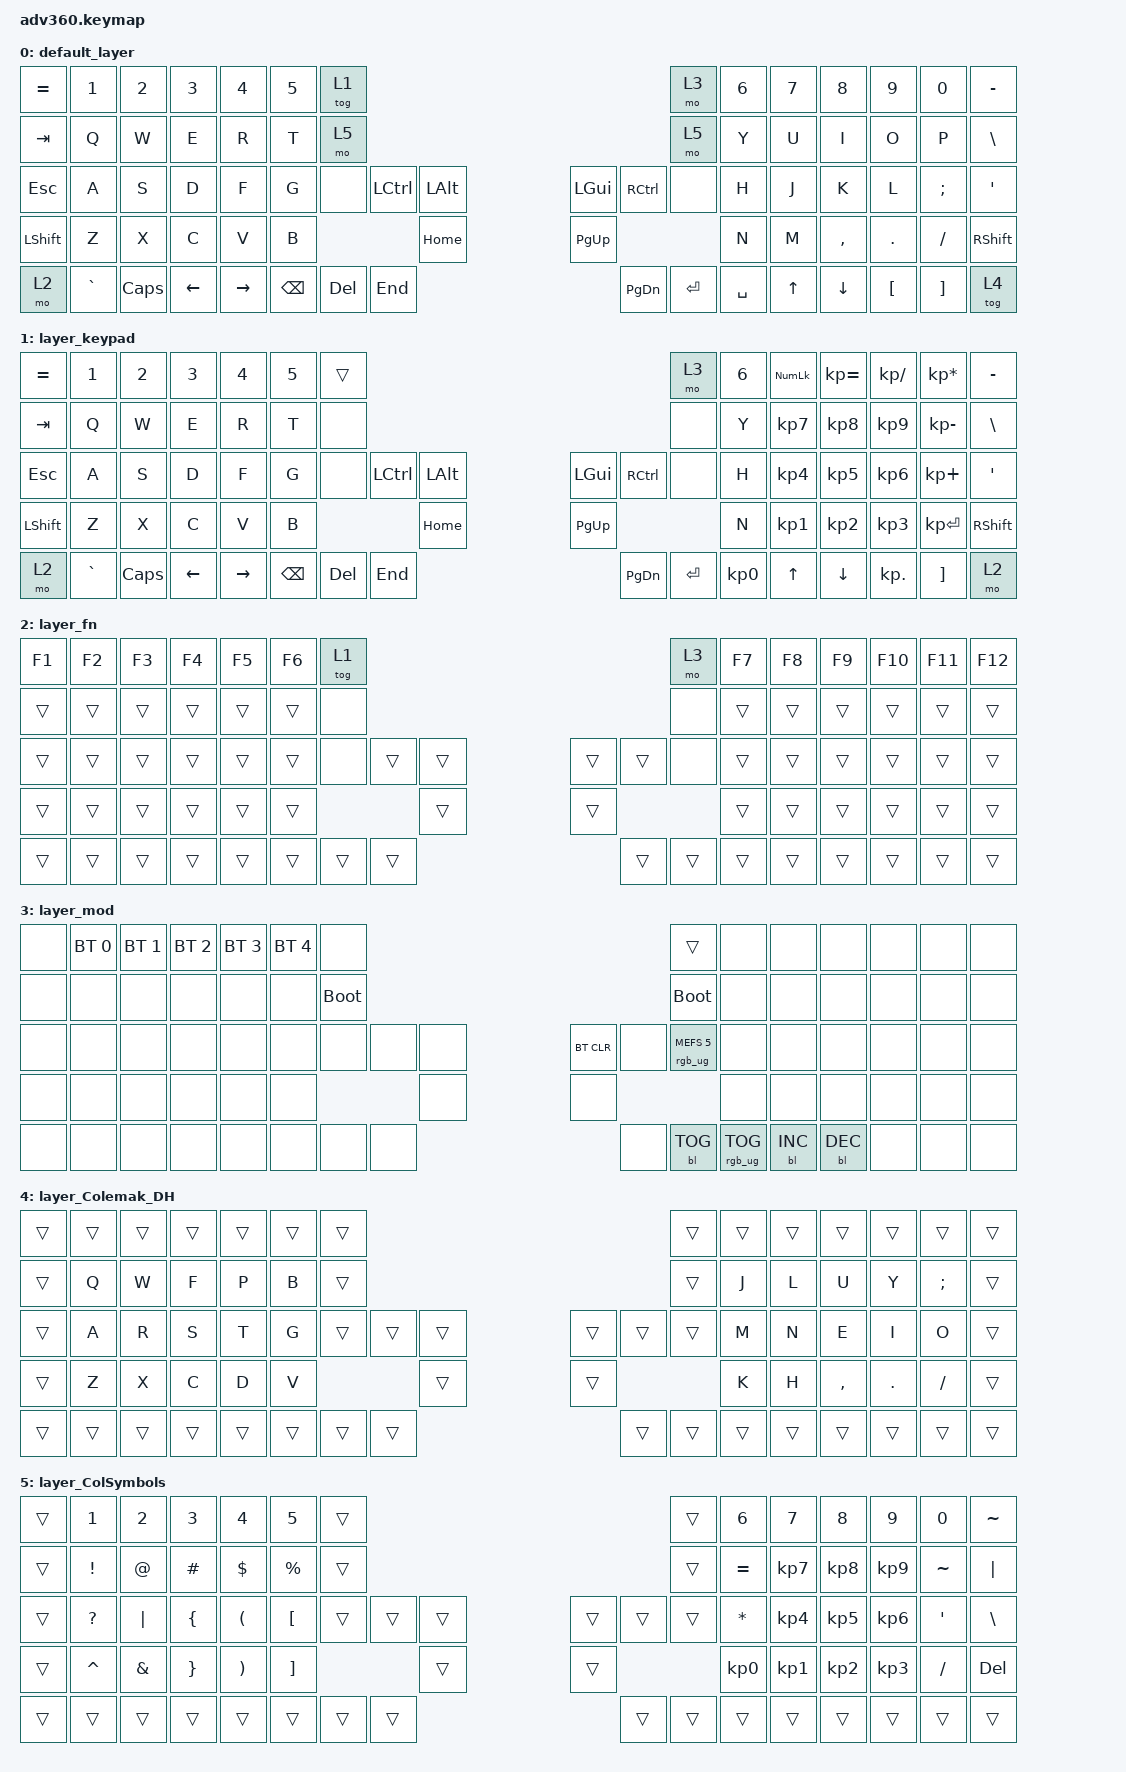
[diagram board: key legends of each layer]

/*
 * Copyright (c) 2020 The ZMK Contributors
 *
 * SPDX-License-Identifier: MIT
 */


/* THIS FILE WAS GENERATED!
 *
 * This file was generated automatically. You may or may not want to
 * edit it directly.
 */

#include <behaviors.dtsi>
#include <dt-bindings/zmk/keys.h>
#include <dt-bindings/zmk/bt.h>
#include <dt-bindings/zmk/rgb.h>
#include <dt-bindings/zmk/backlight.h>

/ {
  behaviors {
    #include "macros.dtsi"
    #include "version.dtsi"

    hm: homerow_mods {
        compatible = "zmk,behavior-hold-tap";
        label = "HOMEROW_MODS";
        #binding-cells = <2>;
        tapping-term-ms = <200>;
        quick_tap_ms = <175>;
        flavor = "tap-preferred";
        bindings = <&kp>, <&kp>;
    };
  };

    keymap {
        compatible = "zmk,keymap";


        default_layer {
            bindings = <
 &kp EQUAL     &kp N1    &kp N2    &kp N3     &kp N4  &kp N5              &tog 1                                                                 &mo 3  &kp N6  &kp N7     &kp N8    &kp N9    &kp N0  &kp MINUS
   &kp TAB      &kp Q     &kp W     &kp E      &kp R   &kp T               &mo 5                                                                 &mo 5   &kp Y   &kp U      &kp I     &kp O     &kp P   &kp BSLH
   &kp ESC      &kp A     &kp S     &kp D      &kp F   &kp G               &none  &kp LCTRL  &kp LALT                   &kp LGUI  &kp RCTRL      &none   &kp H   &kp J      &kp K     &kp L  &kp SEMI    &kp SQT
 &kp LSHFT      &kp Z     &kp X     &kp C      &kp V   &kp B                                 &kp HOME                  &kp PG_UP                         &kp N   &kp M  &kp COMMA   &kp DOT  &kp FSLH  &kp RSHFT
     &mo 2  &kp GRAVE  &kp CAPS  &kp LEFT  &kp RIGHT                    &kp BSPC    &kp DEL   &kp END                  &kp PG_DN  &kp ENTER  &kp SPACE          &kp UP   &kp DOWN  &kp LBKT  &kp RBKT     &tog 4
            >;
        };

        layer_keypad {
            bindings = <
 &kp EQUAL     &kp N1    &kp N2    &kp N3     &kp N4  &kp N5              &trans                                                                 &mo 3  &kp N6  &kp KP_NUM  &kp KP_EQUAL  &kp KP_DIVIDE  &kp KP_MULTIPLY  &kp MINUS
   &kp TAB      &kp Q     &kp W     &kp E      &kp R   &kp T               &none                                                                 &none   &kp Y   &kp KP_N7     &kp KP_N8      &kp KP_N9     &kp KP_MINUS   &kp BSLH
   &kp ESC      &kp A     &kp S     &kp D      &kp F   &kp G               &none  &kp LCTRL  &kp LALT                   &kp LGUI  &kp RCTRL      &none   &kp H   &kp KP_N4     &kp KP_N5      &kp KP_N6      &kp KP_PLUS    &kp SQT
 &kp LSHFT      &kp Z     &kp X     &kp C      &kp V   &kp B                                 &kp HOME                  &kp PG_UP                         &kp N   &kp KP_N1     &kp KP_N2      &kp KP_N3     &kp KP_ENTER  &kp RSHFT
     &mo 2  &kp GRAVE  &kp CAPS  &kp LEFT  &kp RIGHT                    &kp BSPC    &kp DEL   &kp END                  &kp PG_DN  &kp ENTER  &kp KP_N0              &kp UP      &kp DOWN     &kp KP_DOT         &kp RBKT      &mo 2
            >;
        };

        layer_fn {
            bindings = <
 &kp F1  &kp F2  &kp F3  &kp F4  &kp F5  &kp F6            &tog 1                                                   &mo 3  &kp F7  &kp F8  &kp F9  &kp F10  &kp F11  &kp F12
 &trans  &trans  &trans  &trans  &trans  &trans             &none                                                   &none  &trans  &trans  &trans   &trans   &trans   &trans
 &trans  &trans  &trans  &trans  &trans  &trans             &none  &trans  &trans                  &trans  &trans   &none  &trans  &trans  &trans   &trans   &trans   &trans
 &trans  &trans  &trans  &trans  &trans  &trans                            &trans                  &trans                  &trans  &trans  &trans   &trans   &trans   &trans
 &trans  &trans  &trans  &trans  &trans                    &trans  &trans  &trans                  &trans  &trans  &trans          &trans  &trans   &trans   &trans   &trans
            >;
        };

        layer_mod {
            bindings = <
  &none  &bt BT_SEL 0  &bt BT_SEL 1  &bt BT_SEL 2  &bt BT_SEL 3  &bt BT_SEL 4                  &none                                                                          &trans   &none       &none       &none   &none   &none   &none
  &none         &none         &none         &none         &none         &none            &bootloader                                                                     &bootloader   &none       &none       &none   &none   &none   &none
  &none         &none         &none         &none         &none         &none                  &none   &none   &none                  &bt BT_CLR       &none  &rgb_ug RGB_MEFS_CMD 5   &none       &none       &none   &none   &none   &none
  &none         &none         &none         &none         &none         &none                                  &none                       &none                                       &none       &none       &none   &none   &none   &none
  &none         &none         &none         &none         &none                                &none   &none   &none                       &none  &bl BL_TOG         &rgb_ug RGB_TOG          &bl BL_INC  &bl BL_DEC   &none   &none   &none
            >;
        };

        layer_Colemak_DH {
            bindings = <
 &trans  &trans  &trans  &trans  &trans  &trans            &trans                                                  &trans  &trans  &trans     &trans      &trans         &trans  &trans
 &trans   &kp Q   &kp W   &kp F   &kp P   &kp B            &trans                                                  &trans   &kp J   &kp L      &kp U       &kp Y  &kp SEMICOLON  &trans
 &trans   &kp A   &kp R   &kp S   &kp T   &kp G            &trans  &trans  &trans                  &trans  &trans  &trans   &kp M   &kp N      &kp E       &kp I          &kp O  &trans
 &trans   &kp Z   &kp X   &kp C   &kp D   &kp V                            &trans                  &trans                   &kp K   &kp H  &kp COMMA  &kp PERIOD      &kp SLASH  &trans
 &trans  &trans  &trans  &trans  &trans                    &trans  &trans  &trans                  &trans  &trans  &trans          &trans     &trans      &trans         &trans  &trans
            >;
        };

        layer_ColSymbols {
            bindings = <
 &trans           &kp N1   &kp NUMBER_2           &kp N3                 &kp N4             &kp N5            &trans                                                  &trans           &kp N6           &kp N7           &kp N8           &kp N9     &kp N0      &kp TILDE
 &trans  &kp EXCLAMATION    &kp AT_SIGN        &kp POUND             &kp DOLLAR        &kp PERCENT            &trans                                                  &trans        &kp EQUAL  &kp KP_NUMBER_7  &kp KP_NUMBER_8  &kp KP_NUMBER_9  &kp TILDE       &kp PIPE
 &trans     &kp QUESTION       &kp PIPE   &kp LEFT_BRACE   &kp LEFT_PARENTHESIS   &kp LEFT_BRACKET            &trans  &trans  &trans                  &trans  &trans  &trans         &kp STAR  &kp KP_NUMBER_4  &kp KP_NUMBER_5  &kp KP_NUMBER_6   &kp APOS  &kp BACKSLASH
 &trans        &kp CARET  &kp AMPERSAND  &kp RIGHT_BRACE  &kp RIGHT_PARENTHESIS  &kp RIGHT_BRACKET                            &trans                  &trans                  &kp KP_NUMBER_0  &kp KP_NUMBER_1        &kp KP_N2  &kp KP_NUMBER_3  &kp SLASH     &kp DELETE
 &trans           &trans         &trans           &trans                 &trans                               &trans  &trans  &trans                  &trans  &trans  &trans                            &trans           &trans           &trans     &trans         &trans
            >;
        };

    };
};
